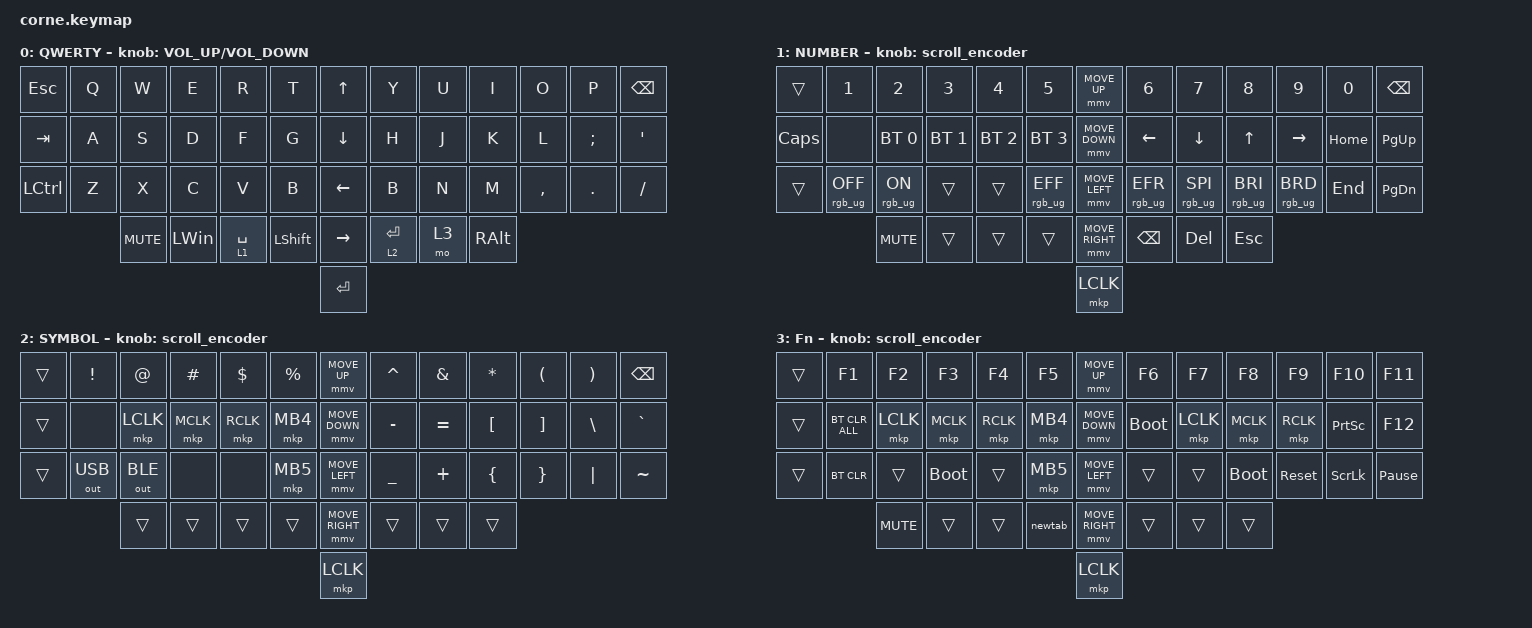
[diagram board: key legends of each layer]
#include <behaviors/mouse_keys.dtsi>
#include <behaviors.dtsi>
#include <dt-bindings/zmk/bt.h>
#include <dt-bindings/zmk/keys.h>
#include <dt-bindings/zmk/keys.h>
#include <dt-bindings/zmk/mouse.h>
#include <dt-bindings/zmk/outputs.h>
#include <dt-bindings/zmk/rgb.h>

#define ZMK_MOUSE_DEFAULT_MOVE_VAL 1200  // 600
#define ZMK_MOUSE_DEFAULT_SCRL_VAL 20    // 10
#define U_MS_U &mmv MOVE_UP
#define U_MS_D &mmv MOVE_DOWN
#define U_MS_L &mmv MOVE_LEFT
#define U_MS_R &mmv MOVE_RIGHT

/ {
    behaviors {
        td0: td0 {
            compatible = "zmk,behavior-tap-dance";
            label = "TD0";
            #binding-cells = <0>;
            bindings = <&kp LEFT_SHIFT>, <&kp CAPS>;
        };

        mmv {
            acceleration-exponent = <1>;      // 1
            time-to-max-speed-ms = <900>;    // 40
            delay-ms = <0>;                   // 0
        };

        msc {
            acceleration-exponent = <1>;      // 0
            time-to-max-speed-ms = <400>;      // 500
            delay-ms = <0>;                   // 10
        };
    };

    rgb_encoder: rgb_encoder {
        compatible = "zmk,behavior-sensor-rotate";
        label = "RGB_ENCODER";
        #sensor-binding-cells = <0>;
        bindings = <&rgb_ug RGB_BRI>, <&rgb_ug RGB_BRD>;
    };

    scroll_encoder: scroll_encoder {
        compatible = "zmk,behavior-sensor-rotate";
        #sensor-binding-cells = <0>;
        bindings = <&msc SCRL_DOWN>, <&msc SCRL_UP>;

        tap-ms = <30>;
    };

    macros {
        newtab: newtab {
            compatible = "zmk,behavior-macro";
            #binding-cells = <0>;
            bindings = <&kt LC(T)>;
            label = "NEWTAB";
        };
    };

    keymap {
        compatible = "zmk,keymap";

        default_layer {
            display-name = "QWERTY";

            // --------------------------------------------------------------------------------
            // |  TAB |  Q  |  W  |  E  |  R  |  T  |                ↑    |  Y  |  U   |  I  |  O  |  P  | BKSP |      &kp UP_ARROW 
            // | SHIFT |  A  |  S  |  D  |  F  |  G  |               ↓    |  H  |  J   |  K  |  L  |  ;  |  '   | 
            // | CTRL |  Z  |  X  |  C  |  V  |  B  |                ←    |  N  |  M   |  ,  |  .  |  /  | ESC  |
            //                    | GUI | LWR | SPC |                →    | ENT | RSE  | ALT |
            //                                                      enter

            bindings = <
&kp ESC    &kp Q  &kp W       &kp E         &kp R        &kp T             &kp UP_ARROW     &kp Y        &kp U  &kp I     &kp O      &kp P       &kp BSPC
&kp TAB    &kp A  &kp S       &kp D         &kp F        &kp G             &kp DOWN_ARROW   &kp H        &kp J  &kp K     &kp L      &kp SEMI    &kp SQT
&kp LCTRL  &kp Z  &kp X       &kp C         &kp V        &kp B             &kp LEFT_ARROW   &kp B        &kp N  &kp M     &kp COMMA  &kp PERIOD  &kp SLASH
                  &kp C_MUTE  &kp LEFT_WIN  &lt 1 SPACE  &kp LEFT_SHIFT    &kp RIGHT_ARROW  &lt 2 ENTER  &mo 3  &kp RALT
                                                                           &kp ENTER
            >;

            label = "QWERTY";
            sensor-bindings = <&inc_dec_kp C_VOLUME_UP C_VOLUME_DOWN>;
        };

        lower_layer {
            display-name = "NUMBER";

            // -----------------------------------------------------------------------------------------
            // |  TAB |  1  |  2  |  3  |  4  |  5  |   |  6  |  7  |  8  |  9  |  0  | BKSP |
            // | BTCLR| BT1 | BT2 | BT3 | BT4 | BT5 |   | LFT | DWN |  UP | RGT |     |      |
            // | SHFT |     |     |     |     |     |   |     |     |     |     |     |      |
            //                    | GUI |     | SPC |   | ENT |     | ALT |

            bindings = <
&trans    &kp N1           &kp N2          &kp N3        &kp N4        &kp N5             &mmv MOVE_UP     &kp N6           &kp N7           &kp N8           &kp N9           &kp N0    &kp BSPC
&kp CAPS  &none            &bt BT_SEL 0    &bt BT_SEL 1  &bt BT_SEL 2  &bt BT_SEL 3       &mmv MOVE_DOWN   &kp LEFT         &kp DOWN         &kp UP           &kp RIGHT        &kp HOME  &kp PG_UP
&trans    &rgb_ug RGB_OFF  &rgb_ug RGB_ON  &trans        &trans        &rgb_ug RGB_EFF    &mmv MOVE_LEFT   &rgb_ug RGB_EFR  &rgb_ug RGB_SPI  &rgb_ug RGB_BRI  &rgb_ug RGB_BRD  &kp END   &kp PG_DN
                           &kp C_MUTE      &trans        &trans        &trans             &mmv MOVE_RIGHT  &kp BACKSPACE    &kp DEL          &kp ESCAPE
                                                                                          &mkp LCLK
            >;

            label = "NUMBER";
            sensor-bindings = <&scroll_encoder>;
        };

        raise_layer {
            display-name = "SYMBOL";

            // -----------------------------------------------------------------------------------------
            // |  TAB |  !  |  @  |  #  |  $  |  %  |   |  ^  |  &  |  *  |  (  |  )  | BKSP |
            // | CTRL |     |     |     |     |     |   |  -  |  =  |  [  |  ]  |  \  |  `   |
            // | SHFT |     |     |     |     |     |   |  _  |  +  |  {  |  }  | "|" |  ~   |
            //                    | GUI |     | SPC |   | ENT |     | ALT |

            bindings = <
&trans  &kp EXCL      &kp AT        &kp HASH   &kp DLLR   &kp PRCNT    &mmv MOVE_UP     &kp CARET  &kp AMPS   &kp ASTRK  &kp LPAR  &kp RPAR  &kp BSPC
&trans  &none         &mkp LCLK     &mkp MCLK  &mkp RCLK  &mkp MB4     &mmv MOVE_DOWN   &kp MINUS  &kp EQUAL  &kp LBKT   &kp RBKT  &kp BSLH  &kp GRAVE
&trans  &out OUT_USB  &out OUT_BLE  &none      &none      &mkp MB5     &mmv MOVE_LEFT   &kp UNDER  &kp PLUS   &kp LBRC   &kp RBRC  &kp PIPE  &kp TILDE
                      &trans        &trans     &trans     &trans       &mmv MOVE_RIGHT  &trans     &trans     &trans
                                                                       &mkp LCLK
            >;

            label = "SYMBOL";
            sensor-bindings = <&scroll_encoder>;
        };

        layer_3 {
            display-name = "Fn";
            bindings = <
&trans  &kp F1          &kp F2      &kp F3       &kp F4     &kp F5      &mmv MOVE_UP     &kp F6       &kp F7     &kp F8       &kp F9      &kp F10          &kp F11
&trans  &bt BT_CLR_ALL  &mkp LCLK   &mkp MCLK    &mkp RCLK  &mkp MB4    &mmv MOVE_DOWN   &bootloader  &mkp LCLK  &mkp MCLK    &mkp RCLK   &kp PRINTSCREEN  &kp F12
&trans  &bt BT_CLR      &trans      &bootloader  &trans     &mkp MB5    &mmv MOVE_LEFT   &trans       &trans     &bootloader  &sys_reset  &kp SCROLLLOCK   &kp PAUSE_BREAK
                        &kp C_MUTE  &trans       &trans     &newtab     &mmv MOVE_RIGHT  &trans       &trans     &trans
                                                                        &mkp LCLK
            >;

            label = "FN";
            sensor-bindings = <&scroll_encoder>;
        };
    };
};
